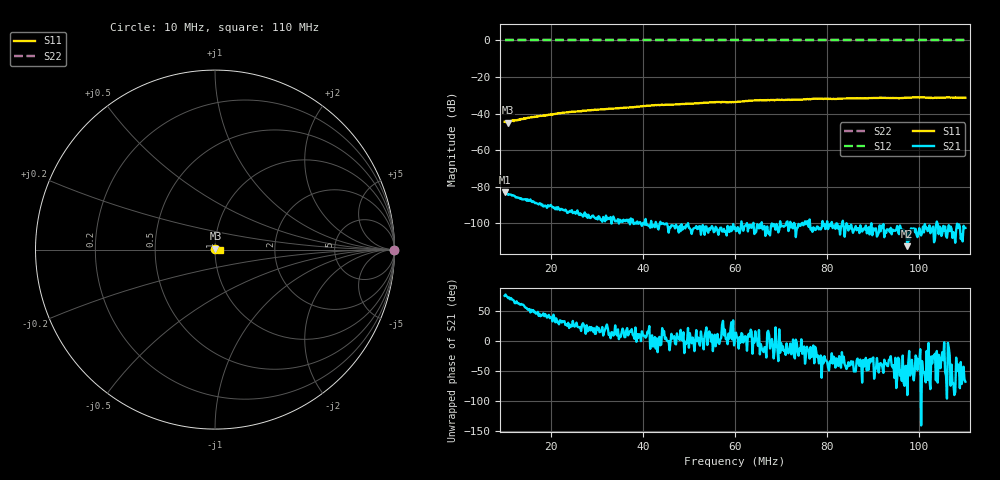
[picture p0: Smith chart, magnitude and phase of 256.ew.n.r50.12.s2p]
! Anritsu VNA Master:  Model: MS2036C/10/77
! SN:  1601066
! /card0/usr/256.ew.n.r50.12.s2p
! Existing Calibration Information:
! TYPE:  Current Settings,  Active Cal Settings
! TIME:  12/19/2017 03:01:30 PM,  12/19/2017 02:53:44 PM
! INTERNAL TEMP:  46.5 C,  46.3 C
! # POINTS:  501,  501
! START FREQ:  10.000 MHz,  10.000 MHz
! STOP FREQ:  110.000 MHz,  110.000 MHz
! SOURCE POWER:  High,  High
! IFBW:  100 Hz,  100 Hz
! AVG FACTOR:  1 ,  1
! REF PLANE 1:  0 mm,  0 mm
! REF PLANE 2:  0 mm,  0 mm
! CAL TYPE:  Full S11,  Full S11
! CAL METHOD:  SOLT,  SOLT
! CAL LINE TYPE:  Coax,  Coax
! DUT PORT 1:  N-Conn(F),  N-Conn(F)
! DUT PORT 2:  K-Conn(F),  K-Conn(F)
! CAL STATUS:  OK: Accuracy High,  --
# GHZ S DB R 50.0
! FREQ.GHZ  S11DB  S11A  S21DB  S21A  S12DB  S12A  S22DB  S22A
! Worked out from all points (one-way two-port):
!   501 points, 10 MHz to 110 MHz, reference 50 ohm
!   highest |S21| = -83.07 dB at 10 MHz (marker M1); lowest = -112.6 dB at 97.4 MHz (marker M2)
!   lowest |S11| = -44.9 dB at 10.8 MHz (marker M3), VSWR 1.01, Z = 50.3 + j0.501 ohm
!   |S11| at or under -10 dB: start of sweep to end of sweep
!   |S22| runs from 0.0 to 0.0 dB; largest |S21 - S12| = 1
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0.01  -44.50 63.3  -83.07 74.8  0.00 0.0  0.00 0.0
0.0108  -44.94 61.7  -84.52 70.7  0.00 0.0  0.00 0.0
0.0162  -41.92 55.8  -88.03 51.1  0.00 0.0  0.00 0.0
0.0186  -41.11 55.6  -90.79 40.9  0.00 0.0  0.00 0.0
0.022  -39.88 51.9  -92.89 34.0  0.00 0.0  0.00 0.0
0.0268  -38.64 51.0  -95.39 26.5  0.00 0.0  0.00 0.0
0.0434  -35.31 40.0  -103.48 1.7  0.00 0.0  0.00 0.0
0.0512  -34.47 34.9  -102.74 -17.3  0.00 0.0  0.00 0.0
0.0552  -33.81 33.1  -102.70 -17.2  0.00 0.0  0.00 0.0
0.06  -33.77 29.5  -102.21 4.3  0.00 0.0  0.00 0.0
0.0644  -32.78 26.8  -105.35 15.8  0.00 0.0  0.00 0.0
0.0744  -32.43 21.1  -100.31 2.4  0.00 0.0  0.00 0.0
0.0768  -31.98 19.4  -104.76 -25.1  0.00 0.0  0.00 0.0
0.0816  -32.01 17.5  -101.21 -29.1  0.00 0.0  0.00 0.0
0.0848  -31.65 15.0  -101.77 -41.6  0.00 0.0  0.00 0.0
0.0934  -31.49 10.7  -103.57 -31.7  0.00 0.0  0.00 0.0
0.0958  -31.56 7.7  -101.30 -58.1  0.00 0.0  0.00 0.0
0.0974  -31.41 5.6  -112.61 -90.3  0.00 0.0  0.00 0.0
0.0996  -31.17 5.6  -107.66 -48.8  0.00 0.0  0.00 0.0
0.1028  -31.52 3.6  -102.72 -37.7  0.00 0.0  0.00 0.0
0.106  -31.16 0.5  -108.00 -96.2  0.00 0.0  0.00 0.0
0.11  -31.32 -4.6  -102.64 -68.2  0.00 0.0  0.00 0.0
